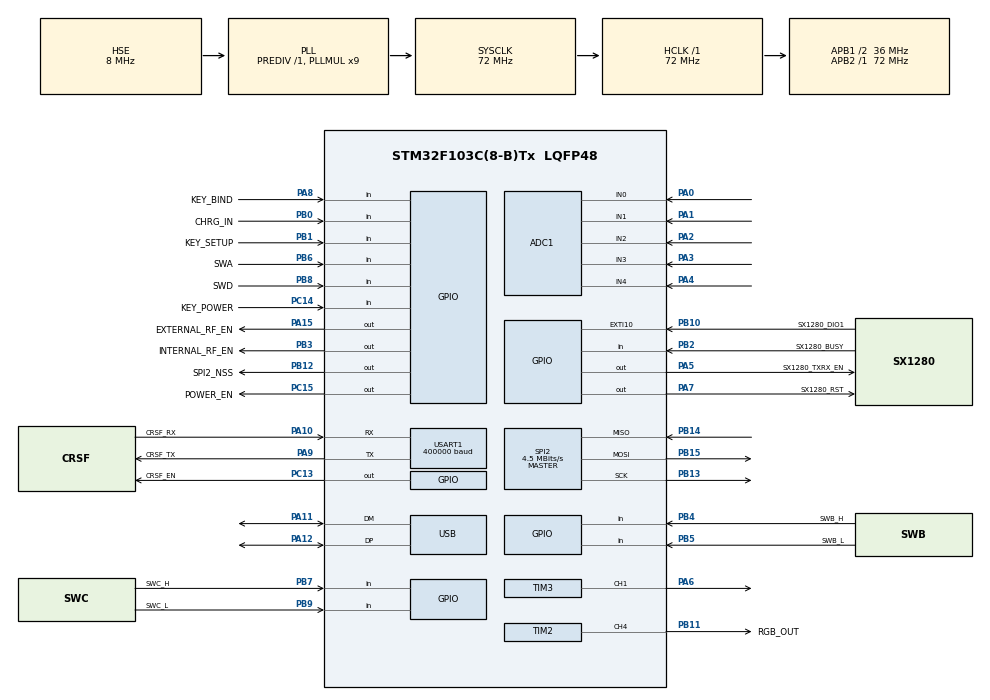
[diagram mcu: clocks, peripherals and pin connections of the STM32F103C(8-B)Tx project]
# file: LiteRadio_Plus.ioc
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ADC1.Channel-1\#ChannelRegularConversion=ADC_CHANNEL_0
ADC1.Channel-2\#ChannelRegularConversion=ADC_CHANNEL_1
ADC1.Channel-3\#ChannelRegularConversion=ADC_CHANNEL_2
ADC1.Channel-4\#ChannelRegularConversion=ADC_CHANNEL_3
ADC1.Channel-5\#ChannelRegularConversion=ADC_CHANNEL_4
ADC1.ContinuousConvMode=ENABLE
ADC1.ExternalTrigConv=ADC_SOFTWARE_START
ADC1.NbrOfConversion=5
ADC1.NbrOfConversionFlag=1
ADC1.Rank-1\#ChannelRegularConversion=1
ADC1.Rank-2\#ChannelRegularConversion=2
ADC1.Rank-3\#ChannelRegularConversion=3
ADC1.Rank-4\#ChannelRegularConversion=4
ADC1.Rank-5\#ChannelRegularConversion=5
ADC1.SamplingTime-1\#ChannelRegularConversion=ADC_SAMPLETIME_1CYCLE_5
ADC1.SamplingTime-2\#ChannelRegularConversion=ADC_SAMPLETIME_1CYCLE_5
ADC1.SamplingTime-3\#ChannelRegularConversion=ADC_SAMPLETIME_1CYCLE_5
ADC1.SamplingTime-4\#ChannelRegularConversion=ADC_SAMPLETIME_1CYCLE_5
ADC1.SamplingTime-5\#ChannelRegularConversion=ADC_SAMPLETIME_1CYCLE_5
ADC1.master=1
Dma.ADC1.0.Direction=DMA_PERIPH_TO_MEMORY
Dma.ADC1.0.Instance=DMA1_Channel1
Dma.ADC1.0.MemDataAlignment=DMA_MDATAALIGN_HALFWORD
Dma.ADC1.0.MemInc=DMA_MINC_ENABLE
Dma.ADC1.0.Mode=DMA_CIRCULAR
Dma.ADC1.0.PeriphDataAlignment=DMA_PDATAALIGN_HALFWORD
Dma.ADC1.0.PeriphInc=DMA_PINC_DISABLE
Dma.ADC1.0.Priority=DMA_PRIORITY_MEDIUM
Dma.Request0=ADC1
Dma.Request1=TIM2_CH2/CH4
Dma.Request2=USART1_TX
Dma.Request3=USART1_RX
Dma.TIM2_CH2/CH4.1.Direction=DMA_MEMORY_TO_PERIPH
Dma.TIM2_CH2/CH4.1.Instance=DMA1_Channel7
Dma.TIM2_CH2/CH4.1.MemDataAlignment=DMA_MDATAALIGN_HALFWORD
Dma.TIM2_CH2/CH4.1.MemInc=DMA_MINC_ENABLE
Dma.TIM2_CH2/CH4.1.Mode=DMA_NORMAL
Dma.TIM2_CH2/CH4.1.PeriphDataAlignment=DMA_PDATAALIGN_HALFWORD
Dma.TIM2_CH2/CH4.1.PeriphInc=DMA_PINC_DISABLE
Dma.TIM2_CH2/CH4.1.Priority=DMA_PRIORITY_MEDIUM
Dma.USART1_RX.3.Direction=DMA_PERIPH_TO_MEMORY
Dma.USART1_RX.3.Instance=DMA1_Channel5
Dma.USART1_RX.3.MemDataAlignment=DMA_MDATAALIGN_BYTE
Dma.USART1_RX.3.MemInc=DMA_MINC_ENABLE
Dma.USART1_RX.3.Mode=DMA_NORMAL
Dma.USART1_RX.3.PeriphDataAlignment=DMA_PDATAALIGN_BYTE
Dma.USART1_RX.3.PeriphInc=DMA_PINC_DISABLE
Dma.USART1_RX.3.Priority=DMA_PRIORITY_MEDIUM
Dma.USART1_TX.2.Direction=DMA_MEMORY_TO_PERIPH
Dma.USART1_TX.2.Instance=DMA1_Channel4
Dma.USART1_TX.2.MemDataAlignment=DMA_MDATAALIGN_BYTE
Dma.USART1_TX.2.MemInc=DMA_MINC_ENABLE
Dma.USART1_TX.2.Mode=DMA_NORMAL
Dma.USART1_TX.2.PeriphDataAlignment=DMA_PDATAALIGN_BYTE
Dma.USART1_TX.2.PeriphInc=DMA_PINC_DISABLE
Dma.USART1_TX.2.Priority=DMA_PRIORITY_MEDIUM
FREERTOS.HEAP_NUMBER=4
FREERTOS.INCLUDE_uxTaskGetStackHighWaterMark=1
FREERTOS.INCLUDE_vTaskDelayUntil=0
FREERTOS.INCLUDE_xEventGroupSetBitFromISR=0
FREERTOS.INCLUDE_xTimerPendFunctionCall=0
FREERTOS.MEMORY_ALLOCATION=2
FREERTOS.Tasks01=defaultTask,0,128,StartDefaultTask,Default,NULL,Static,defaultTaskBuffer,defaultTaskControlBlock
FREERTOS.configTOTAL_HEAP_SIZE=7*1024 
FREERTOS.configUSE_TIMERS=0
IWDG.Prescaler=IWDG_PRESCALER_16
Mcu.Family=STM32F1
Mcu.Name=STM32F103C(8-B)Tx
Mcu.Package=LQFP48
NVIC.DMA1_Channel1_IRQn=true\:5\:0\:false\:false\:true\:true\:false\:true\:true
NVIC.DMA1_Channel4_IRQn=true\:5\:0\:false\:false\:true\:true\:false\:true\:true
NVIC.DMA1_Channel5_IRQn=true\:5\:0\:false\:false\:true\:true\:false\:true\:true
NVIC.DMA1_Channel7_IRQn=true\:5\:0\:false\:false\:true\:true\:false\:true\:true
NVIC.EXTI15_10_IRQn=true\:5\:0\:true\:false\:true\:true\:true\:true\:true
NVIC.PriorityGroup=NVIC_PRIORITYGROUP_4
NVIC.TIM1_UP_IRQn=true\:5\:0\:false\:false\:true\:true\:true\:true\:true
NVIC.TIM2_IRQn=true\:5\:0\:false\:false\:true\:true\:true\:true\:true
NVIC.TIM4_IRQn=true\:0\:0\:false\:false\:true\:false\:false\:true\:true
NVIC.TimeBase=TIM4_IRQn
NVIC.TimeBaseIP=TIM4
NVIC.USART1_IRQn=true\:5\:0\:false\:false\:true\:true\:true\:true\:true
NVIC.USB_LP_CAN1_RX0_IRQn=true\:5\:0\:false\:false\:true\:true\:false\:true\:true
PA0-WKUP.Signal=ADCx_IN0
PA1.Signal=ADCx_IN1
PA10.GPIO_Label=CRSF_RX
PA10.Mode=Asynchronous
PA10.Signal=USART1_RX
PA11.Mode=Device
PA11.Signal=USB_DM
PA12.Mode=Device
PA12.Signal=USB_DP
PA13.Mode=Serial_Wire
PA13.Signal=SYS_JTMS-SWDIO
PA14.Mode=Serial_Wire
PA14.Signal=SYS_JTCK-SWCLK
PA15.GPIO_Label=EXTERNAL_RF_EN
PA15.Signal=GPIO_Output
PA2.Signal=ADCx_IN2
PA3.Signal=ADCx_IN3
PA4.Signal=ADCx_IN4
PA5.GPIO_Label=SX1280_TXRX_EN
PA5.Signal=GPIO_Output
PA6.Signal=S_TIM3_CH1
PA7.GPIO_Label=SX1280_RST
PA7.GPIO_PuPd=GPIO_PULLUP
PA7.PinState=GPIO_PIN_SET
PA7.Signal=GPIO_Output
PA8.GPIO_Label=KEY_BIND
PA8.GPIO_PuPd=GPIO_PULLUP
PA8.Signal=GPIO_Input
PA9.GPIO_Label=CRSF_TX
PA9.Mode=Asynchronous
PA9.Signal=USART1_TX
PB0.GPIO_Label=CHRG_IN
PB0.GPIO_PuPd=GPIO_PULLUP
PB0.Signal=GPIO_Input
PB1.GPIO_Label=KEY_SETUP
PB1.GPIO_PuPd=GPIO_PULLUP
PB1.Signal=GPIO_Input
PB10.GPIO_Label=SX1280_DIO1
PB10.GPIO_ModeDefaultEXTI=GPIO_MODE_IT_RISING
PB10.GPIO_PuPd=GPIO_PULLDOWN
PB10.Signal=GPXTI10
PB11.GPIO_Label=RGB_OUT
PB11.Signal=S_TIM2_CH4
PB12.GPIO_Label=SPI2_NSS
PB12.GPIO_Speed=GPIO_SPEED_FREQ_HIGH
PB12.Signal=GPIO_Output
PB13.Mode=Full_Duplex_Master
PB13.Signal=SPI2_SCK
PB14.Mode=Full_Duplex_Master
PB14.Signal=SPI2_MISO
PB15.Mode=Full_Duplex_Master
PB15.Signal=SPI2_MOSI
PB2.GPIO_Label=SX1280_BUSY
PB2.GPIO_PuPd=GPIO_PULLUP
PB2.Signal=GPIO_Input
PB3.GPIO_Label=INTERNAL_RF_EN
PB3.Signal=GPIO_Output
PB4.GPIO_Label=SWB_H
PB4.GPIO_PuPd=GPIO_PULLUP
PB4.Signal=GPIO_Input
PB5.GPIO_Label=SWB_L
PB5.GPIO_PuPd=GPIO_PULLUP
PB5.Signal=GPIO_Input
PB6.GPIO_Label=SWA
PB6.GPIO_PuPd=GPIO_PULLUP
PB6.Signal=GPIO_Input
PB7.GPIO_Label=SWC_H
PB7.GPIO_PuPd=GPIO_PULLUP
PB7.Signal=GPIO_Input
PB8.GPIO_Label=SWD
PB8.GPIO_PuPd=GPIO_PULLUP
PB8.Signal=GPIO_Input
PB9.GPIO_Label=SWC_L
PB9.GPIO_PuPd=GPIO_PULLUP
PB9.Signal=GPIO_Input
PC13-TAMPER-RTC.GPIO_Label=CRSF_EN
PC13-TAMPER-RTC.Signal=GPIO_Output
PC14-OSC32_IN.GPIO_Label=KEY_POWER
PC14-OSC32_IN.GPIO_PuPd=GPIO_PULLUP
PC14-OSC32_IN.Signal=GPIO_Input
PC15-OSC32_OUT.GPIO_Label=POWER_EN
PC15-OSC32_OUT.GPIO_PuPd=GPIO_PULLDOWN
PC15-OSC32_OUT.Signal=GPIO_Output
PD0-OSC_IN.Mode=HSE-External-Oscillator
PD0-OSC_IN.Signal=RCC_OSC_IN
PD1-OSC_OUT.Mode=HSE-External-Oscillator
PD1-OSC_OUT.Signal=RCC_OSC_OUT
ProjectManager.HeapSize=0x000
ProjectManager.StackSize=0x200
ProjectManager.TargetToolchain=MDK-ARM V5.27
RCC.ADCPresc=RCC_ADCPCLK2_DIV6
RCC.AHBFreq_Value=72000000
RCC.APB1CLKDivider=RCC_HCLK_DIV2
RCC.APB1Freq_Value=36000000
RCC.APB1TimFreq_Value=72000000
RCC.APB2Freq_Value=72000000
RCC.APB2TimFreq_Value=72000000
RCC.HCLKFreq_Value=72000000
RCC.PLLMUL=RCC_PLL_MUL9
RCC.PLLSourceVirtual=RCC_PLLSOURCE_HSE
RCC.SYSCLKFreq_VALUE=72000000
RCC.SYSCLKSource=RCC_SYSCLKSOURCE_PLLCLK
RCC.USBFreq_Value=48000000
RCC.USBPrescaler=RCC_USBCLKSOURCE_PLL_DIV1_5
SH.ADCx_IN0.0=ADC1_IN0,IN0
SH.ADCx_IN1.0=ADC1_IN1,IN1
SH.ADCx_IN2.0=ADC1_IN2,IN2
SH.ADCx_IN3.0=ADC1_IN3,IN3
SH.ADCx_IN4.0=ADC1_IN4,IN4
SH.S_TIM2_CH4.0=TIM2_CH4,PWM Generation4 CH4
SH.S_TIM3_CH1.0=TIM3_CH1,PWM Generation1 CH1
SPI2.BaudRatePrescaler=SPI_BAUDRATEPRESCALER_8
SPI2.CRCCalculation=SPI_CRCCALCULATION_DISABLE
SPI2.CalculateBaudRate=4.5 MBits/s
SPI2.Direction=SPI_DIRECTION_2LINES
SPI2.Mode=SPI_MODE_MASTER
SPI2.VirtualType=VM_MASTER
TIM1.AutoReloadPreload=TIM_AUTORELOAD_PRELOAD_ENABLE
TIM1.Period=3999
TIM1.Prescaler=71
TIM2.Channel-PWM\ Generation4\ CH4=TIM_CHANNEL_4
TIM2.OCFastMode_PWM-PWM\ Generation4\ CH4=TIM_OCFAST_DISABLE
TIM2.OCMode_PWM-PWM\ Generation4\ CH4=TIM_OCMODE_PWM1
TIM2.OCPolarity_4=TIM_OCPOLARITY_HIGH
TIM2.Period=89
TIM2.Prescaler=0
TIM2.Pulse-PWM\ Generation4\ CH4=0
TIM3.Channel-PWM\ Generation1\ CH1=TIM_CHANNEL_1
TIM3.Prescaler=99
USART1.BaudRate=400000
USART1.VirtualMode=VM_ASYNC
USB_DEVICE.CLASS_NAME_FS=CDC
USB_DEVICE.VirtualMode=Cdc
USB_DEVICE.VirtualModeFS=Cdc_FS
VP_FREERTOS_VS_CMSIS_V1.Mode=CMSIS_V1
VP_IWDG_VS_IWDG.Mode=IWDG_Activate
VP_SYS_VS_tim4.Mode=TIM4
VP_TIM1_VS_ClockSourceINT.Mode=Internal
VP_TIM2_VS_ClockSourceINT.Mode=Internal
VP_USB_DEVICE_VS_USB_DEVICE_CDC_FS.Mode=CDC_FS
board=custom

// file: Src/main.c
/* USER CODE BEGIN Header */
/**
  ******************************************************************************
  * @file           : main.c
  * @brief          : Main program body
  ******************************************************************************
  * @attention
  *
  * <h2><center>&copy; Copyright (c) 2021 STMicroelectronics.
  * All rights reserved.</center></h2>
  *
  * This software component is licensed by ST under Ultimate Liberty license
  * SLA0044, the "License"; You may not use this file except in compliance with
  * the License. You may obtain a copy of the License at:
  *                             www.st.com/SLA0044
  *
  ******************************************************************************
  */
/* USER CODE END Header */
#include "main.h"
#include "cmsis_os.h"
#include "adc.h"
#include "dma.h"
#include "iwdg.h"
#include "spi.h"
#include "tim.h"
#include "usart.h"
#include "usb_device.h"
#include "gpio.h"

/* USER CODE BEGIN Includes */
#include "usb_device.h"
#include "adc.h"
#include "gimbal.h"
#include "switches.h"
#include "key.h"
#include "buzzer.h"
#include "mixes.h"
#include "joystick.h"
#include "rgb.h"
#include "status.h"
#include "delay.h"
#include "radiolink.h"
#if defined(LiteRadio_Plus_SX1280)
#include "sx1280.h"
#elif defined(LiteRadio_Plus_SX1276)

#endif
/* USER CODE END Includes */

void SystemClock_Config(void);
void MX_FREERTOS_Init(void);

int main(void)
{
  /* USER CODE BEGIN 1 */
  SCB->VTOR = FLASH_BASE | 0x8000;
  __enable_irq();
  /* USER CODE END 1 */

  /* MCU Configuration--------------------------------------------------------*/

  /* Reset of all peripherals, Initializes the Flash interface and the Systick. */
  HAL_Init();

  /* Configure the system clock */
  SystemClock_Config();

  /* Initialize all configured peripherals */
  MX_GPIO_Init();
  MX_DMA_Init();
  MX_ADC1_Init();
  MX_TIM3_Init();
  MX_SPI2_Init();
  MX_TIM2_Init();
  MX_USART1_UART_Init();
  MX_TIM1_Init();
  MX_IWDG_Init();
  /* USER CODE BEGIN 2 */
#ifdef LiteRadio_Plus_CC2500
  CC2500_GPIO_Disable();
#endif

  Gimbal_Init();

  Status_Init();

  /* USER CODE END 2 */

  /* Call init function for freertos objects (in freertos.c) */
  MX_FREERTOS_Init();

  /* Start scheduler */
  osKernelStart();
  /* We should never get here as control is now taken by the scheduler */
  /* Infinite loop */
  while (1)
  {

  }
}

void SystemClock_Config(void)
{
  RCC_OscInitTypeDef RCC_OscInitStruct = {0};
  RCC_ClkInitTypeDef RCC_ClkInitStruct = {0};
  RCC_PeriphCLKInitTypeDef PeriphClkInit = {0};

  /** Initializes the RCC Oscillators according to the specified parameters
  * in the RCC_OscInitTypeDef structure.
  */
  RCC_OscInitStruct.OscillatorType = RCC_OSCILLATORTYPE_LSI|RCC_OSCILLATORTYPE_HSE;
  RCC_OscInitStruct.HSEState = RCC_HSE_ON;
  RCC_OscInitStruct.HSEPredivValue = RCC_HSE_PREDIV_DIV1;
  RCC_OscInitStruct.HSIState = RCC_HSI_ON;
  RCC_OscInitStruct.LSIState = RCC_LSI_ON;
  RCC_OscInitStruct.PLL.PLLState = RCC_PLL_ON;
  RCC_OscInitStruct.PLL.PLLSource = RCC_PLLSOURCE_HSE;
  RCC_OscInitStruct.PLL.PLLMUL = RCC_PLL_MUL9;
  if (HAL_RCC_OscConfig(&RCC_OscInitStruct) != HAL_OK)
  {
    Error_Handler();
  }

  /** Initializes the CPU, AHB and APB buses clocks
  */
  RCC_ClkInitStruct.ClockType = RCC_CLOCKTYPE_HCLK|RCC_CLOCKTYPE_SYSCLK
                              |RCC_CLOCKTYPE_PCLK1|RCC_CLOCKTYPE_PCLK2;
  RCC_ClkInitStruct.SYSCLKSource = RCC_SYSCLKSOURCE_PLLCLK;
  RCC_ClkInitStruct.AHBCLKDivider = RCC_SYSCLK_DIV1;
  RCC_ClkInitStruct.APB1CLKDivider = RCC_HCLK_DIV2;
  RCC_ClkInitStruct.APB2CLKDivider = RCC_HCLK_DIV1;

  if (HAL_RCC_ClockConfig(&RCC_ClkInitStruct, FLASH_LATENCY_2) != HAL_OK)
  {
    Error_Handler();
  }
  PeriphClkInit.PeriphClockSelection = RCC_PERIPHCLK_ADC|RCC_PERIPHCLK_USB;
  PeriphClkInit.AdcClockSelection = RCC_ADCPCLK2_DIV6;
  PeriphClkInit.UsbClockSelection = RCC_USBCLKSOURCE_PLL_DIV1_5;
  if (HAL_RCCEx_PeriphCLKConfig(&PeriphClkInit) != HAL_OK)
  {
    Error_Handler();
  }
}

void HAL_TIM_PeriodElapsedCallback(TIM_HandleTypeDef *htim)
{
  if (htim->Instance == TIM4) {
    HAL_IncTick();
  }
}

void Error_Handler(void)
{
}

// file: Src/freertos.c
/* USER CODE BEGIN Header */
/**
  ******************************************************************************
  * File Name          : freertos.c
  * Description        : Code for freertos applications
  ******************************************************************************
  * @attention
  *
  * <h2><center>&copy; Copyright (c) 2021 STMicroelectronics.
  * All rights reserved.</center></h2>
  *
  * This software component is licensed by ST under Ultimate Liberty license
  * SLA0044, the "License"; You may not use this file except in compliance with
  * the License. You may obtain a copy of the License at:
  *                             www.st.com/SLA0044
  *
  ******************************************************************************
  */
/* USER CODE END Header */

#include "FreeRTOS.h"
#include "task.h"
#include "main.h"
#include "cmsis_os.h"

/* USER CODE BEGIN Includes */
#include "usb_device.h"
#include "adc.h"
#include "gimbal.h"
#include "switches.h"
#include "key.h"
#include "buzzer.h"
#include "radiolink.h"
#include "mixes.h"
#include "joystick.h"
#include "frsky_d16.h"
#include "status.h"
#include "rgb.h"
/* USER CODE END Includes */

/* USER CODE BEGIN Variables */
TaskHandle_t startTaskHandle;

/* USER CODE END Variables */
osThreadId defaultTaskHandle;
uint32_t defaultTaskBuffer[ 128 ];
osStaticThreadDef_t defaultTaskControlBlock;

/* USER CODE BEGIN FunctionPrototypes */
void startTask(void *param);
/* USER CODE END FunctionPrototypes */

void StartDefaultTask(void const * argument);

extern void MX_USB_DEVICE_Init(void);
void MX_FREERTOS_Init(void); /* (MISRA C 2004 rule 8.1) */

/* GetIdleTaskMemory prototype (linked to static allocation support) */
void vApplicationGetIdleTaskMemory( StaticTask_t **ppxIdleTaskTCBBuffer, StackType_t **ppxIdleTaskStackBuffer, uint32_t *pulIdleTaskStackSize );

/* USER CODE BEGIN GET_IDLE_TASK_MEMORY */
static StaticTask_t xIdleTaskTCBBuffer;
static StackType_t xIdleStack[configMINIMAL_STACK_SIZE];

void vApplicationGetIdleTaskMemory( StaticTask_t **ppxIdleTaskTCBBuffer, StackType_t **ppxIdleTaskStackBuffer, uint32_t *pulIdleTaskStackSize )
{
  *ppxIdleTaskTCBBuffer = &xIdleTaskTCBBuffer;
  *ppxIdleTaskStackBuffer = &xIdleStack[0];
  *pulIdleTaskStackSize = configMINIMAL_STACK_SIZE;
  /* place for user code */
}
/* USER CODE END GET_IDLE_TASK_MEMORY */

void MX_FREERTOS_Init(void) {

  /* Create the thread(s) */
  /* definition and creation of defaultTask */
  osThreadStaticDef(defaultTask, StartDefaultTask, osPriorityNormal, 0, 128, defaultTaskBuffer, &defaultTaskControlBlock);
  defaultTaskHandle = osThreadCreate(osThread(defaultTask), NULL);

  /* USER CODE BEGIN RTOS_THREADS */
  /* add threads, ... */
  xTaskCreate(startTask, "START_TASK", 100, NULL, 2, &startTaskHandle);
  /* USER CODE END RTOS_THREADS */

}

void StartDefaultTask(void const * argument)
{
  /* init code for USB_DEVICE */
  MX_USB_DEVICE_Init();
  /* USER CODE BEGIN StartDefaultTask */
  /* Infinite loop */
  for(;;)
  {
    osDelay(10);
  }
  /* USER CODE END StartDefaultTask */
}

/* USER CODE BEGIN Application */
void startTask(void *param)
{
    for(;;)
    {
        KeyEventHandle = xEventGroupCreate();
        buzzerEventHandle = xEventGroupCreate();
        rgbEventHandle = xEventGroupCreate();
        radioEventHandle = xEventGroupCreate();
        gimbalEventHandle = xEventGroupCreate();

        taskENTER_CRITICAL();	/*进入临界�?*/

        xTaskCreate(statusTask, "STATUS", 80, NULL, 3, NULL);
        xTaskCreate(radiolinkTask, "DATA_PROCESS", 256, NULL, 3, &radiolinkTaskHandle);
        xTaskCreate(gimbalTask, "GIMBAL", 100, NULL, 3, NULL);
        xTaskCreate(rgbTask, "RGB", 128, NULL, 3, NULL);
        xTaskCreate(buzzerTask, "BUZZER", 64, NULL, 1, NULL);
        xTaskCreate(joystickTask, "JOYSTICK", 128, NULL, 3, &joystickTaskHandle);
        xTaskCreate(switchesTask, "SWITCHES", 100, NULL, 2, NULL);
        xTaskCreate(mixesTask, "MIXES", 600, NULL, 3, &mixesTaskHandle);
        xTaskCreate(keyTask, "BUTTON_SCAN", 80, NULL, 3, NULL);

        vTaskSuspend(joystickTaskHandle);//挂起joystick
        vTaskSuspend(radiolinkTaskHandle);//挂起radiolink

        vTaskDelete(startTaskHandle);
        taskEXIT_CRITICAL();
        osDelay(1);
    }
}
/* USER CODE END Application */
